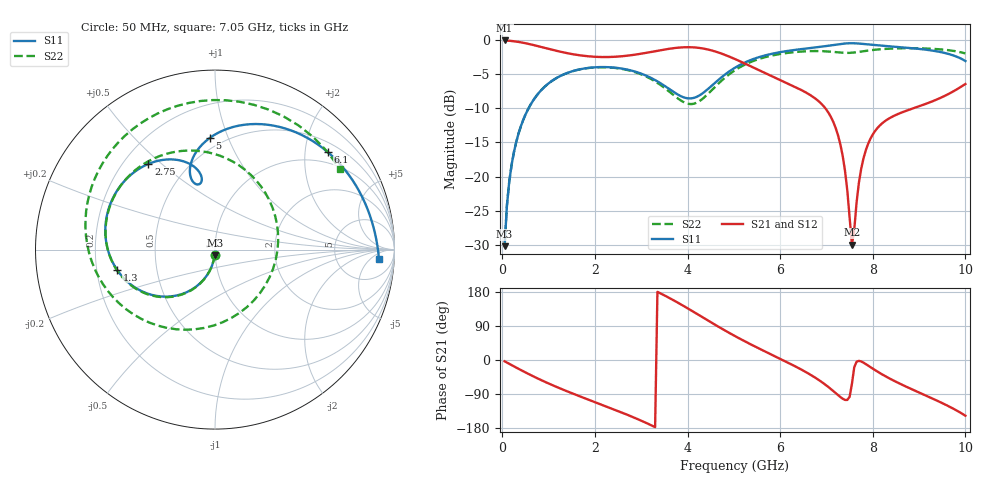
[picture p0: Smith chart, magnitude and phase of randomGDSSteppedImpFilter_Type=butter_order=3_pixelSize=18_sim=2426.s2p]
! freq	dB(S11)	phase(S11)	dB(S12)	phase(S12)
!  dB(S21)	phase(S21)	dB(S22)	phase(S22)
!S-par simulation data
#  GHz  S  DB  R 50
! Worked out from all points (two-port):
!   200 points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, 50 MHz to 10 GHz, reference 50 ohm
!   highest |S21| = -0.01 dB at 50 MHz (marker M1); lowest = -30.0 dB at 7.55 GHz (marker M2)
!   |S21| within 3 dB of the highest: start of sweep to 5.113 GHz
!   lowest |S11| = -30.2 dB at 50 MHz (marker M3), VSWR 1.06, Z = 49.7 - j3.06 ohm
!   |S11| at or under -10 dB: start of sweep to 565.5 MHz
!   |S22| runs from -30.2 to -1.1 dB; largest |S21 - S12| = 0
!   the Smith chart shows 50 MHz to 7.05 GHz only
!   S11 on the Smith chart (normalised r, x): 50 MHz: 0.99, -0.06; 1.3 GHz: 0.29, -0.09; 2.75 GHz: 0.30, +0.45; 5 GHz: 0.42, +0.86; 6.1 GHz: 0.72, +2.51; 7.05 GHz: 16, -10
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0.05  -30.23 -93.6  -0.01 -3.4  -0.01 -3.4  -30.23 -93.5
0.15  -20.77 -100.6  -0.05 -10.1  -0.05 -10.1  -20.77 -100.4
0.4  -12.63 -117.2  -0.28 -26.4  -0.28 -26.4  -12.64 -116.8
1.3  -5.07 -168.5  -1.73 -77.6  -1.73 -77.6  -5.08 -167.8
1.75  -4.15 170.2  -2.26 -99.4  -2.26 -99.4  -4.16 170.0
2.75  -4.37 127.9  -2.20 -147.0  -2.20 -147.0  -4.43 117.9
3.4  -6.23 105.4  -1.46 176.8  -1.46 176.8  -6.46 69.4
4.1  -8.50 105.2  -1.01 129.3  -1.01 129.3  -9.35 -26.9
4.55  -6.49 107.1  -1.53 96.3  -1.53 96.3  -7.13 -97.7
5  -4.12 92.7  -2.67 64.8  -2.67 64.8  -4.49 -146.1
5.05  -3.91 90.6  -2.82 61.5  -2.82 61.5  -4.27 -150.5
5.55  -2.44 67.2  -4.40 29.9  -4.40 29.9  -2.71 170.5
6.1  -1.61 40.7  -6.13 -2.9  -6.13 -2.9  -1.89 131.9
6.7  -1.08 12.8  -8.25 -42.2  -8.25 -42.2  -1.57 80.5
7.05  -0.77 -3.2  -10.70 -72.1  -10.70 -72.1  -1.64 33.0
7.3  -0.53 -15.3  -15.28 -97.6  -15.28 -97.6  -1.79 -17.5
7.55  -0.42 -28.2  -30.01 -62.8  -30.01 -62.8  -1.81 -79.3
7.7  -0.46 -35.9  -20.94 -2.3  -20.94 -2.3  -1.69 -114.1
7.9  -0.59 -45.5  -15.19 -14.8  -15.19 -14.8  -1.49 -151.8
8.35  -0.86 -65.8  -11.47 -48.0  -11.47 -48.0  -1.22 153.4
9.1  -1.32 -100.8  -9.44 -91.3  -9.44 -91.3  -1.18 101.0
10  -3.02 -162.9  -6.41 -147.0  -6.41 -147.0  -1.91 55.0
